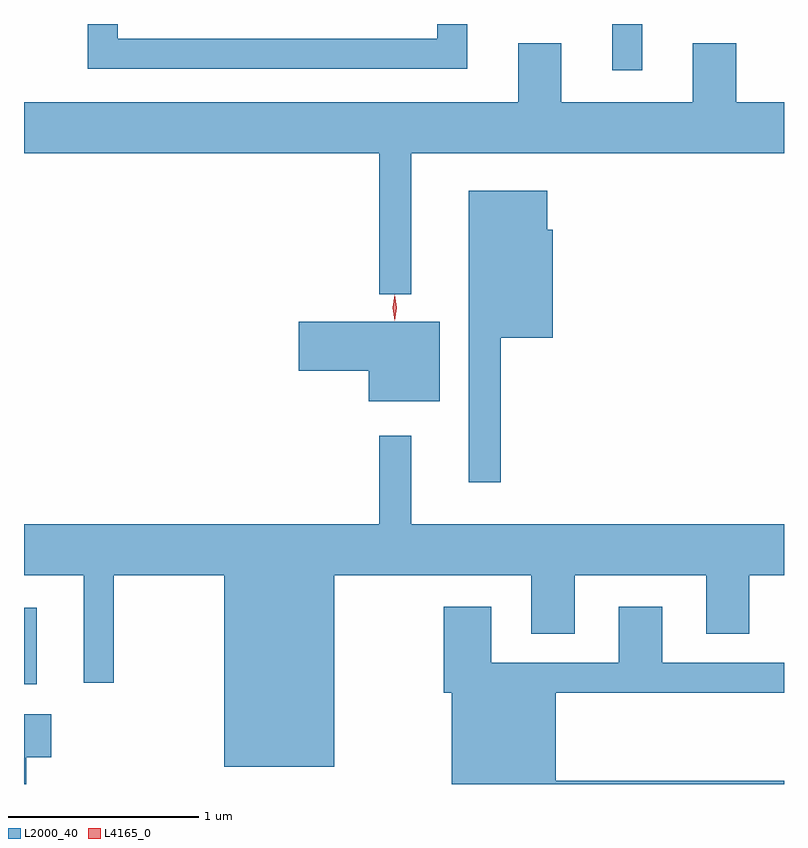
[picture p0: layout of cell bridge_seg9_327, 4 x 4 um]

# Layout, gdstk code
import gdstk
lib = gdstk.Library(unit=1e-6, precision=1e-09)
def R(c, l, rs):  # rectangles x0, y0, x1, y1
    for r in rs: c.add(gdstk.rectangle(r[:2], r[2:], *l))
def P(c, l, *ps):  # polygons
    for p in ps: c.add(gdstk.Polygon(p, *l))
L2000_40 = (2000, 40)
L4165_0 = (4165, 0)

bridge_seg9_327 = lib.new_cell('bridge_seg9_327')
R(bridge_seg9_327, L2000_40, [(756.271,2022.321,756.339,2022.724), (759.366,2025.553,759.524,2025.796)])
P(bridge_seg9_327, L2000_40, [(758.604,2025.796),(758.446,2025.796),(758.446,2025.719),(756.764,2025.719),(756.764,2025.796),(756.606,2025.796),(756.606,2025.561),(758.604,2025.561)],
  [(758.309,2025.116),(760.271,2025.116),(760.271,2025.384),(760.019,2025.384),(760.019,2025.694),(759.791,2025.694),(759.791,2025.384),(759.099,2025.384),(759.099,2025.694),(758.871,2025.694),(758.871,2025.384),(756.271,2025.384),(756.271,2025.116),(758.141,2025.116),(758.141,2024.373),(758.309,2024.373)],
  [(758.779,2024.146),(759.054,2024.146),(759.054,2024.714),(759.024,2024.714),(759.024,2024.919),(758.611,2024.919),(758.611,2023.383),(758.779,2023.383)],
  [(758.459,2024.229),(757.716,2024.229),(757.716,2023.971),(758.086,2023.971),(758.086,2023.811),(758.459,2023.811)],
  [(756.271,2022.896),(756.586,2022.896),(756.586,2022.328),(756.744,2022.328),(756.744,2022.896),(757.326,2022.896),(757.326,2021.886),(757.904,2021.886),(757.904,2022.896),(758.941,2022.896),(758.941,2022.586),(759.169,2022.586),(759.169,2022.896),(759.861,2022.896),(759.861,2022.586),(760.089,2022.586),(760.089,2022.896),(760.271,2022.896),(760.271,2023.164),(758.309,2023.164),(758.309,2023.628),(758.141,2023.628),(758.141,2023.164),(756.271,2023.164)],
  [(760.271,2021.814),(759.069,2021.814),(759.069,2022.276),(760.271,2022.276),(760.271,2022.434),(759.629,2022.434),(759.629,2022.729),(759.401,2022.729),(759.401,2022.434),(758.729,2022.434),(758.729,2022.729),(758.481,2022.729),(758.481,2022.276),(758.521,2022.276),(758.521,2021.796),(760.271,2021.796)],
  [(756.284,2021.936),(756.414,2021.936),(756.414,2022.164),(756.271,2022.164),(756.271,2021.796),(756.284,2021.796)])
P(bridge_seg9_327, L4165_0, [(758.222,2024.24),(758.222,2024.24),(758.212,2024.303),(758.222,2024.366),(758.222,2024.367),(758.223,2024.366),(758.232,2024.303),(758.223,2024.24)],
  [(758.222,2024.234),(758.222,2024.234),(758.212,2024.302),(758.222,2024.37),(758.222,2024.37),(758.223,2024.37),(758.232,2024.302),(758.223,2024.234)])

lib.write_gds('bridge_seg9_327.gds')
